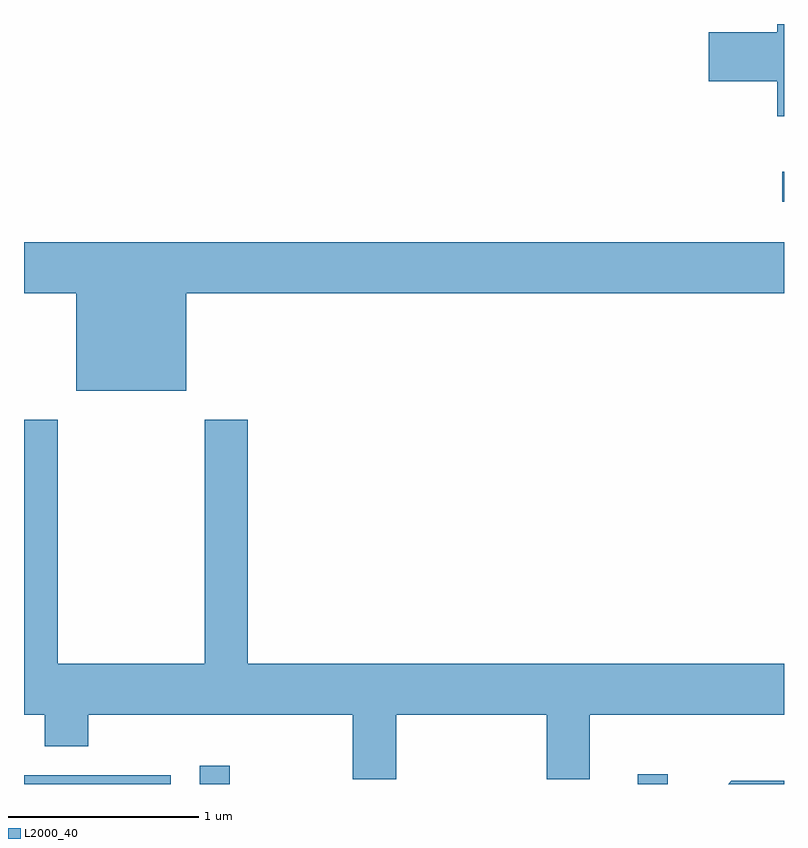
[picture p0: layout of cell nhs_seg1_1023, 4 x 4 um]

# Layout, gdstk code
import gdstk
lib = gdstk.Library(unit=1e-6, precision=1e-09)
def R(c, l, rs):  # rectangles x0, y0, x1, y1
    for r in rs: c.add(gdstk.rectangle(r[:2], r[2:], *l))
def P(c, l, *ps):  # polygons
    for p in ps: c.add(gdstk.Polygon(p, *l))
L2000_40 = (2000, 40)

nhs_seg1_1023 = lib.new_cell('nhs_seg1_1023')
R(nhs_seg1_1023, L2000_40, [(217.611,843.712,218.384,843.759), (218.536,843.712,218.694,843.808), (220.841,843.712,220.999,843.763), (221.603,846.776,221.611,846.934)])
P(nhs_seg1_1023, L2000_40, [(221.611,847.712),(221.576,847.712),(221.576,847.669),(221.216,847.669),(221.216,847.411),(221.576,847.411),(221.576,847.226),(221.611,847.226)],
  [(218.464,846.296),(221.611,846.296),(221.611,846.564),(217.611,846.564),(217.611,846.296),(217.886,846.296),(217.886,845.781),(218.464,845.781)],
  [(219.569,844.076),(220.361,844.076),(220.361,843.736),(220.589,843.736),(220.589,844.076),(221.611,844.076),(221.611,844.344),(218.789,844.344),(218.789,845.629),(218.561,845.629),(218.561,844.344),(217.789,844.344),(217.789,845.629),(217.611,845.629),(217.611,844.076),(217.721,844.076),(217.721,843.911),(217.949,843.911),(217.949,844.076),(219.341,844.076),(219.341,843.736),(219.569,843.736)],
  [(221.611,843.729),(221.334,843.729),(221.317,843.712),(221.611,843.712)])

lib.write_gds('nhs_seg1_1023.gds')
